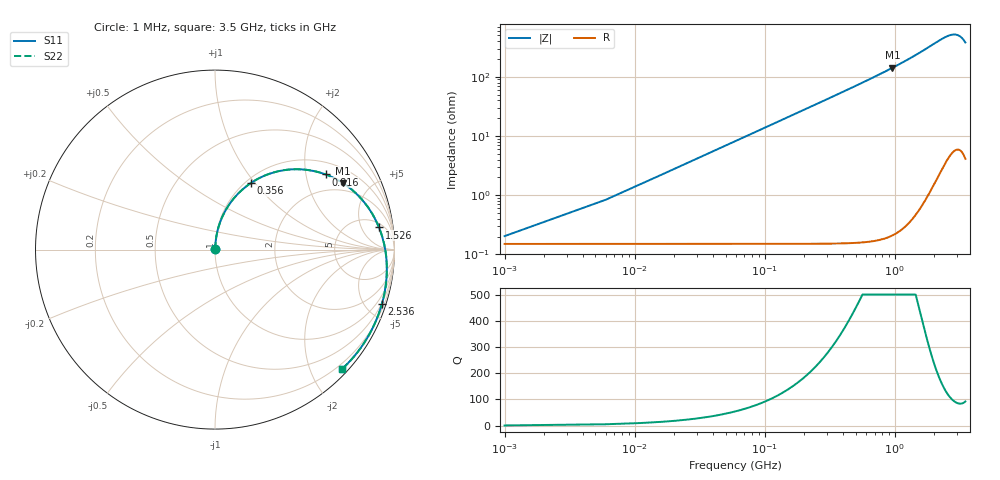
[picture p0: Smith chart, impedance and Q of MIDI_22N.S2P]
! Coilcraft 1812SMS-22N Midi Spring Air Core Inductor
! 10 June 2003
# MHZ S MA R 50
!Freq  MagS11  AngS11  MagS21  AngS21  MagS12  AngS12  MagS22  AngS22
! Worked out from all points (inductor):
!   701 points, 1 MHz to 3.5 GHz, reference 50 ohm
!   read as one part in series: L = 21.9 nH near 16 MHz
!   highest Q = 678 at 961 MHz (marker M1), where L = 23.4 nH
!   S11 on the Smith chart (normalised r, x): 1 MHz: 1.00, +0.00; 356 MHz: 1.06, +0.96; 816 MHz: 1.38, +2.59; 1.526 GHz: 7, +11; 2.536 GHz: 0.45, -6.27; 3.5 GHz: 0.11, -2.51
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1  0.00198 40.7  0.9985 -0.1  0.9985 -0.1  0.00198 40.7
11  0.0143 83.1  0.9984 -0.9  0.9984 -0.9  0.01431 83.1
21  0.02719 85.1  0.9981 -1.7  0.9981 -1.7  0.0272 85.1
31  0.04008 85.3  0.9977 -2.6  0.9977 -2.6  0.0401 85.3
41  0.05297 85.0  0.9971 -3.4  0.9971 -3.4  0.05299 85.0
51  0.06583 84.5  0.9963 -4.2  0.9963 -4.2  0.06586 84.5
81  0.1042 82.5  0.9931 -6.7  0.9931 -6.7  0.1043 82.5
126  0.161 79.1  0.9855 -10.4  0.9855 -10.4  0.1611 79.1
186  0.2345 74.4  0.9706 -15.2  0.9706 -15.2  0.2346 74.4
261  0.3214 68.6  0.9455 -21.1  0.9455 -21.1  0.3215 68.6
356  0.4219 61.6  0.9052 -28.2  0.9052 -28.2  0.422 61.6
586  0.6151 46.6  0.7871 -43.3  0.7871 -43.3  0.6153 46.6
816  0.7448 34.2  0.6659 -55.7  0.6659 -55.7  0.745 34.2
961  0.802 27.6  0.5958 -62.3  0.5958 -62.3  0.8023 27.6
1171  0.8615 19.3  0.506 -70.6  0.506 -70.6  0.8618 19.3
1526  0.9219 7.7  0.3848 -82.2  0.3848 -82.2  0.9222 7.7
1751  0.9444 1.3  0.3251 -88.5  0.3251 -88.5  0.9448 1.3
2336  0.9737 -13.3  0.22 -102.9  0.22 -102.9  0.974 -13.3
2536  0.9779 -18.0  0.199 -107.5  0.199 -107.5  0.9783 -18.0
2921  0.9809 -27.3  0.1806 -116.7  0.1806 -116.7  0.9813 -27.3
3206  0.9789 -34.7  0.1889 -124.0  0.1889 -124.0  0.9792 -34.7
3500  0.9711 -43.4  0.2235 -132.7  0.2235 -132.7  0.9714 -43.4
